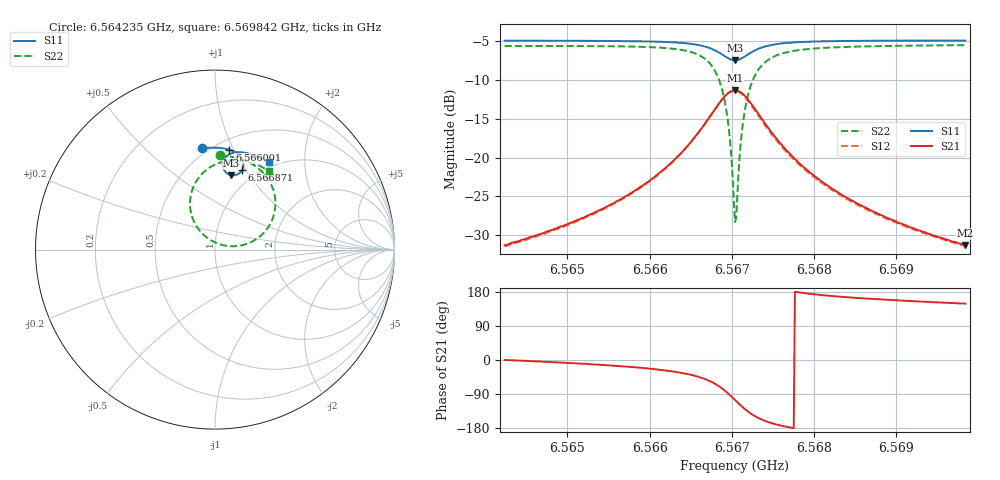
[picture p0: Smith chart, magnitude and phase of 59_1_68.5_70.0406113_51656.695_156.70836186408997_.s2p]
#  HZ  S  RI  R  50.00
! Rohde & Schwarz Vector Network Analyzer
! Rohde-Schwarz,ZNB20-2Port,1311601062101988,3.16
! Created: UTC 3/20/2024, 5:06:18 PM
! freq[Hz]  re:S11  im:S11  re:S21  im:S21  re:S12  im:S12  re:S22  im:S22
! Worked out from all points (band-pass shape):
!   401 points, 6.564235 GHz to 6.569842 GHz, reference 50 ohm
!   highest |S21| = -11.31 dB at 6.567039 GHz (marker M1); lowest = -31.4 dB at 6.569842 GHz (marker M2)
!   |S21| within 3 dB of the highest: 6.56676 GHz to 6.56732 GHz (560.1 kHz wide, 0.00853 % of centre)
!   lowest |S11| = -7.4 dB at 6.567039 GHz (marker M3), VSWR 2.48, Z = 40.9 + j41.4 ohm
!   |S11| at or under -10 dB: nowhere
!   |S22| runs from -28.3 to -5.5 dB; largest |S21 - S12| = 0.013
!   S11 on the Smith chart (normalised r, x): 6.564235 GHz: 0.46, +0.77; 6.566001 GHz: 0.59, +0.96; 6.566871 GHz: 0.85, +0.97; 6.569842 GHz: 0.92, +1.34
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6.5642351e9  -0.0722 0.5644  0.0271 2.02e-05  0.0267 -0.000302  0.027 0.5245
6.5651743e9  0.00414 0.5679  0.0399 -0.00688  0.0393 -0.00746  0.1144 0.5127
6.5660014e9  0.08 0.5565  0.0654 -0.0274  0.0644 -0.0283  0.2177 0.4693
6.5661136e9  0.0916 0.5526  0.0713 -0.0338  0.0701 -0.0347  0.236 0.4565
6.566422e9  0.1265 0.5339  0.0919 -0.0651  0.0903 -0.0664  0.2945 0.3948
6.5666322e9  0.1506 0.5064  0.1051 -0.1131  0.1028 -0.115  0.3327 0.3024
6.5667724e9  0.1591 0.4734  0.0984 -0.1705  0.0944 -0.1735  0.3278 0.1927
6.5668706e9  0.151 0.4427  0.067 -0.2231  0.0599 -0.2257  0.2725 0.0943
6.5669126e9  0.141 0.43  0.0418 -0.2441  0.0331 -0.246  0.2262 0.0559
6.5669547e9  0.1267 0.4198  0.00868 -0.26  -0.00173 -0.2602  0.1658 0.0283
6.5669827e9  0.1149 0.4154  -0.0171 -0.2658  -0.0281 -0.2643  0.1194 0.0195
6.5670248e9  0.0957 0.4139  -0.0584 -0.265  -0.0696 -0.2606  0.046 0.0244
6.5670388e9  0.0893 0.415  -0.0722 -0.2622  -0.083 -0.2566  0.022 0.0313
6.5670668e9  0.0769 0.4191  -0.0984 -0.2522  -0.1083 -0.2448  -0.0227 0.0517
6.5671089e9  0.0611 0.4299  -0.1318 -0.2287  -0.1398 -0.2193  -0.0781 0.097
6.5671509e9  0.0503 0.4445  -0.1557 -0.1992  -0.1611 -0.1887  -0.115 0.1519
6.567207e9  0.0439 0.4656  -0.1726 -0.1573  -0.1747 -0.147  -0.1375 0.2269
6.5672771e9  0.046 0.4893  -0.1754 -0.1113  -0.1746 -0.1023  -0.1336 0.3073
6.5675294e9  0.0843 0.5326  -0.1329 -0.0247  -0.1302 -0.0207  -0.0373 0.4521
6.567978e9  0.1451 0.5423  -0.0775 0.00818  -0.0756 0.00946  0.0908 0.4971
6.5689173e9  0.2309 0.5203  -0.0376 0.0146  -0.0366 0.0149  0.2204 0.4779
6.5698425e9  0.2985 0.4866  -0.0231 0.0141  -0.0227 0.0141  0.2992 0.4402
